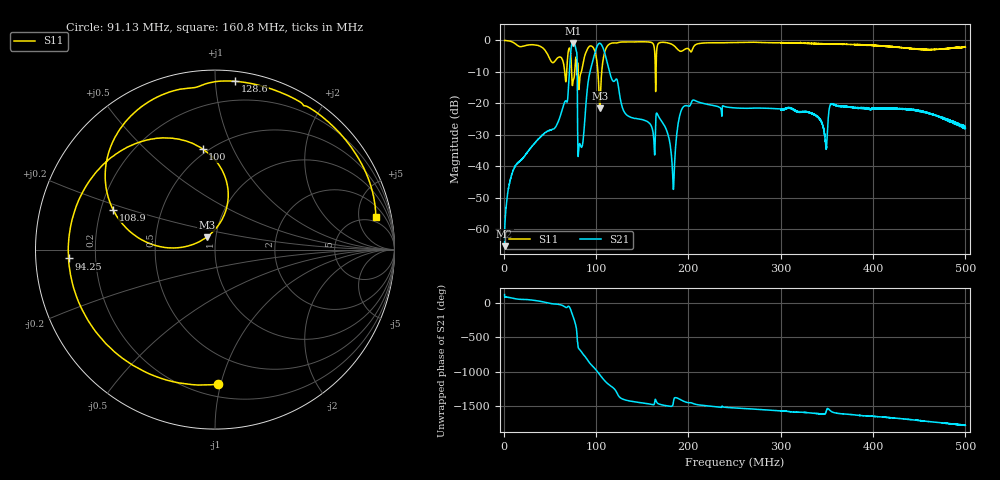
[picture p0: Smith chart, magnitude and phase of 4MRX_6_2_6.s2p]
! NanoVNA-App
! Date: 2026-08-19 15:03:27
! Start: 1MHz Stop: 500MHz Points: 6401
! S-Parameter data: F S11 S21 S12 S22
# Hz S RI R 50
!  Frequency  S11_Real  S11_Imag  S21_Real  S21_Imag  S12_Real  S12_Imag  S22_Real  S22_Imag
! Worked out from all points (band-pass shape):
!   6401 points, 1 MHz to 500 MHz, reference 50 ohm
!   highest |S21| = -0.88 dB at 74.91 MHz (marker M1); lowest = -65.5 dB at 1 MHz (marker M2)
!   |S21| within 3 dB of the highest: 72.59 MHz to 79.15 MHz (6.56 MHz wide, 8.65 % of centre); 98.88 MHz to 109.3 MHz (10.42 MHz wide, 10 % of centre)
!   lowest |S11| = -21.6 dB at 104 MHz (marker M3), VSWR 1.18, Z = 45.1 + j6.31 ohm
!   |S11| at or under -10 dB: 73.58 MHz to 76.91 MHz (3.33 MHz wide, 4.43 % of centre); 80.65 MHz to 84.03 MHz (3.387 MHz wide, 4.11 % of centre); 102 MHz to 106.2 MHz (4.135 MHz wide, 3.97 % of centre)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
!   S12 and S22 are empty: the file has one direction only
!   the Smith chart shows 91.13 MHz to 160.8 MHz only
!   S11 on the Smith chart (normalised r, x): 91.13 MHz: 0.29, -0.98; 94.25 MHz: 0.10, -0.03; 100 MHz: 0.47, +0.77; 108.9 MHz: 0.25, +0.18; 128.6 MHz: 0.06, +1.12; 160.8 MHz: 3.75, +8.32
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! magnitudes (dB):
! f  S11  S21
! 1 MHz  0.0  -65.5
! 11.6 MHz  -0.9  -40.5
! 67.27 MHz  -13.2  -19.2
! 74.91 MHz  -13.5  -0.9
! 77.25 MHz  -8.4  -1.5
! 84.19 MHz  -9.9  -34.0
! 91.13 MHz  -2.5  -13.9
! 94.25 MHz  -1.8  -9.0
! 100 MHz  -5.0  -2.8
! 104 MHz  -21.6  -0.9
! 108.9 MHz  -4.3  -3.5
! 128.6 MHz  -0.5  -21.4
! 160.8 MHz  -0.8  -28.0
! 167.4 MHz  -1.0  -24.0
! 183.4 MHz  -1.5  -46.0
! 195 MHz  -3.0  -21.0
! 250.5 MHz  -0.7  -21.5
! 333.7 MHz  -0.9  -23.2
! 348.4 MHz  -1.1  -32.1
! 355.6 MHz  -1.2  -20.2
! 416.9 MHz  -2.0  -21.8
! 500 MHz  -2.1  -27.9
